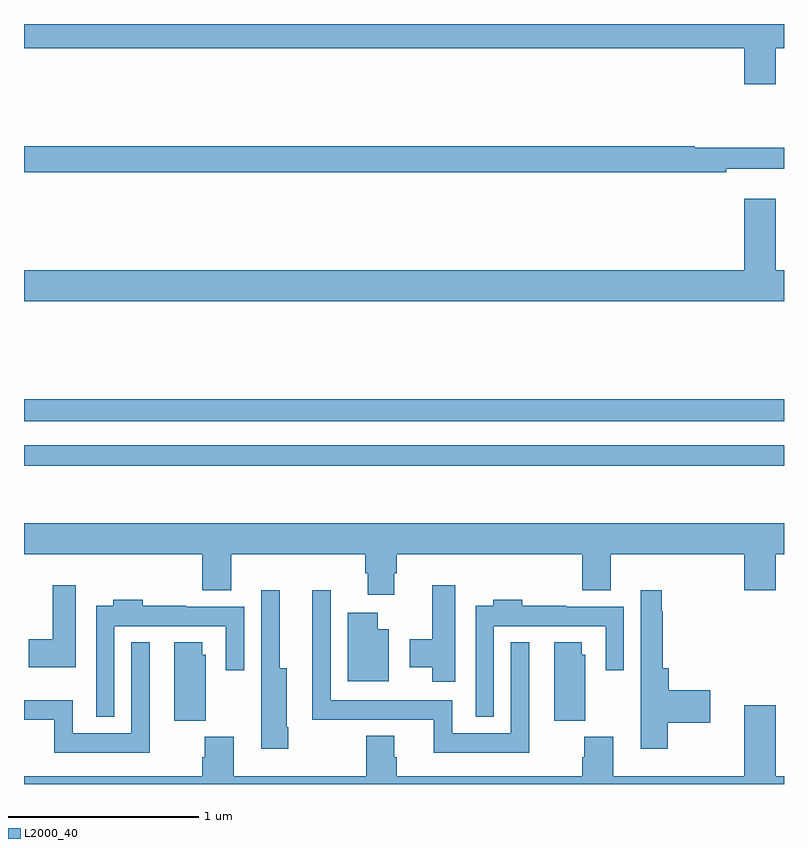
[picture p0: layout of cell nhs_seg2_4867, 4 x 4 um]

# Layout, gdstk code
import gdstk
lib = gdstk.Library(unit=1e-6, precision=1e-09)
def R(c, l, rs):  # rectangles x0, y0, x1, y1
    for r in rs: c.add(gdstk.rectangle(r[:2], r[2:], *l))
def P(c, l, *ps):  # polygons
    for p in ps: c.add(gdstk.Polygon(p, *l))
L2000_40 = (2000, 40)

nhs_seg2_4867 = lib.new_cell('nhs_seg2_4867')
R(nhs_seg2_4867, L2000_40, [(377,609.474,381,609.582), (377,609.708,381,609.824)])
P(nhs_seg2_4867, L2000_40, [(380.956,611.672),(381,611.672),(381,611.8),(377,611.8),(377,611.672),(380.792,611.672),(380.792,611.484),(380.956,611.484)],
  [(380.696,611.039),(381,611.039),(381,611.149),(380.531,611.149),(380.531,611.156),(377,611.156),(377,611.02),(380.696,611.02)],
  [(381,610.504),(380.956,610.504),(380.956,610.879),(380.792,610.879),(380.792,610.504),(377,610.504),(377,610.34),(381,610.34)],
  [(378.949,608.91),(378.962,608.91),(378.962,609.008),(379.937,609.008),(379.937,608.819),(380.089,608.819),(380.089,609.008),(380.792,609.008),(380.792,608.82),(380.956,608.82),(380.956,609.008),(381,609.008),(381,609.172),(377,609.172),(377,609.008),(377.939,609.008),(377.939,608.819),(378.091,608.819),(378.091,609.008),(378.797,609.008),(378.797,608.91),(378.809,608.91),(378.809,608.796),(378.949,608.796)],
  [(377.272,608.845),(377.15,608.845),(377.15,608.562),(377.025,608.562),(377.025,608.414),(377.272,608.414)],
  [(379.27,608.845),(379.148,608.845),(379.148,608.562),(379.031,608.562),(379.031,608.414),(379.148,608.414),(379.148,608.337),(379.27,608.337)],
  [(378.39,608.098),(378.382,608.098),(378.382,608.41),(378.346,608.41),(378.346,608.821),(378.249,608.821),(378.249,608.306),(378.248,608.306),(378.248,607.986),(378.39,607.986)],
  [(379.66,608.545),(379.563,608.545),(379.563,608.068),(379.254,608.068),(379.254,608.242),(378.615,608.242),(378.615,608.821),(378.518,608.821),(378.518,608.138),(379.157,608.138),(379.157,607.964),(379.66,607.964)],
  [(380.388,608.123),(380.611,608.123),(380.611,608.294),(380.393,608.294),(380.393,608.41),(380.363,608.41),(380.363,608.708),(380.356,608.708),(380.356,608.821),(380.247,608.821),(380.247,608.277),(380.246,608.277),(380.246,607.986),(380.388,607.986)],
  [(379.473,608.63),(380.061,608.63),(380.061,608.4),(380.157,608.4),(380.157,608.734),(379.853,608.734),(379.853,608.737),(379.622,608.737),(379.622,608.77),(379.469,608.77),(379.469,608.737),(379.377,608.737),(379.377,608.153),(379.473,608.153)],
  [(377.475,608.63),(378.063,608.63),(378.063,608.4),(378.159,608.4),(378.159,608.734),(377.855,608.734),(377.855,608.737),(377.624,608.737),(377.624,608.77),(377.471,608.77),(377.471,608.737),(377.379,608.737),(377.379,608.153),(377.475,608.153)],
  [(378.919,608.614),(378.862,608.614),(378.862,608.701),(378.704,608.701),(378.704,608.342),(378.919,608.342)],
  [(377.662,608.545),(377.565,608.545),(377.565,608.068),(377.256,608.068),(377.256,608.242),(377,608.242),(377,608.138),(377.159,608.138),(377.159,607.964),(377.662,607.964)],
  [(377.956,608.481),(377.938,608.481),(377.938,608.545),(377.792,608.545),(377.792,608.134),(377.956,608.134)],
  [(379.954,608.481),(379.936,608.481),(379.936,608.545),(379.79,608.545),(379.79,608.134),(379.954,608.134)],
  [(381,607.84),(380.956,607.84),(380.956,608.215),(380.792,608.215),(380.792,607.84),(380.102,607.84),(380.102,608.049),(379.949,608.049),(379.949,607.94),(379.937,607.94),(379.937,607.84),(378.962,607.84),(378.962,607.941),(378.949,607.941),(378.949,608.053),(378.802,608.053),(378.802,607.84),(378.104,607.84),(378.104,608.049),(377.951,608.049),(377.951,607.94),(377.939,607.94),(377.939,607.84),(377,607.84),(377,607.8),(381,607.8)])

lib.write_gds('nhs_seg2_4867.gds')
